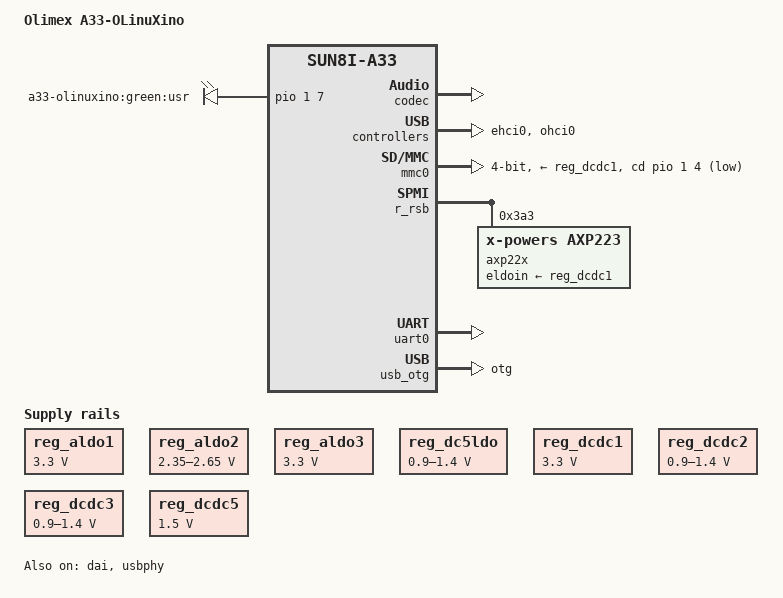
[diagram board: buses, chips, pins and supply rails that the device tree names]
/*
 * Copyright 2016 - Stefan Mavrodiev <stefan.mavrodiev@gmail.com>
 *                  Olimex LTD. <support@olimex.com>
 *
 * This file is dual-licensed: you can use it either under the terms
 * of the GPL or the X11 license, at your option. Note that this dual
 * licensing only applies to this file, and not this project as a
 * whole.
 *
 *  a) This file is free software; you can redistribute it and/or
 *     modify it under the terms of the GNU General Public License as
 *     published by the Free Software Foundation; either version 2 of the
 *     License, or (at your option) any later version.
 *
 *     This file is distributed in the hope that it will be useful,
 *     but WITHOUT ANY WARRANTY; without even the implied warranty of
 *     MERCHANTABILITY or FITNESS FOR A PARTICULAR PURPOSE.  See the
 *     GNU General Public License for more details.
 *
 * Or, alternatively,
 *
 *  b) Permission is hereby granted, free of charge, to any person
 *     obtaining a copy of this software and associated documentation
 *     files (the "Software"), to deal in the Software without
 *     restriction, including without limitation the rights to use,
 *     copy, modify, merge, publish, distribute, sublicense, and/or
 *     sell copies of the Software, and to permit persons to whom the
 *     Software is furnished to do so, subject to the following
 *     conditions:
 *
 *     The above copyright notice and this permission notice shall be
 *     included in all copies or substantial portions of the Software.
 *
 *     THE SOFTWARE IS PROVIDED "AS IS", WITHOUT WARRANTY OF ANY KIND,
 *     EXPRESS OR IMPLIED, INCLUDING BUT NOT LIMITED TO THE WARRANTIES
 *     OF MERCHANTABILITY, FITNESS FOR A PARTICULAR PURPOSE AND
 *     NONINFRINGEMENT. IN NO EVENT SHALL THE AUTHORS OR COPYRIGHT
 *     HOLDERS BE LIABLE FOR ANY CLAIM, DAMAGES OR OTHER LIABILITY,
 *     WHETHER IN AN ACTION OF CONTRACT, TORT OR OTHERWISE, ARISING
 *     FROM, OUT OF OR IN CONNECTION WITH THE SOFTWARE OR THE USE OR
 *     OTHER DEALINGS IN THE SOFTWARE.
 */

/dts-v1/;
#include "sun8i-a33.dtsi"

#include <dt-bindings/gpio/gpio.h>
#include <dt-bindings/input/input.h>

/ {
	model = "Olimex A33-OLinuXino";
	compatible = "olimex,a33-olinuxino","allwinner,sun8i-a33";

	aliases {
		serial0 = &uart0;
	};

	chosen {
		stdout-path = "serial0:115200n8";
	};

	leds {
		compatible = "gpio-leds";

		led {
			label = "a33-olinuxino:green:usr";
			gpios = <&pio 1 7 GPIO_ACTIVE_HIGH>;
		};
	};
};

&codec {
	status = "okay";
};

&dai {
	status = "okay";
};

&ehci0 {
	status = "okay";
};

&mmc0 {
	vmmc-supply = <&reg_dcdc1>;
	bus-width = <4>;
	cd-gpios = <&pio 1 4 GPIO_ACTIVE_LOW>; /* PB4 */
	status = "okay";
};

&ohci0 {
	status = "okay";
};

&r_rsb {
	status = "okay";

	axp22x: pmic@3a3 {
		compatible = "x-powers,axp223";
		reg = <0x3a3>;
		interrupt-parent = <&r_intc>;
		interrupts = <GIC_SPI 32 IRQ_TYPE_LEVEL_LOW>;
		eldoin-supply = <&reg_dcdc1>;
		x-powers,drive-vbus-en;
	};
};

#include "axp223.dtsi"

&ac_power_supply {
	status = "okay";
};

&battery_power_supply {
	status = "okay";
};

&reg_aldo1 {
	regulator-always-on;
	regulator-min-microvolt = <3300000>;
	regulator-max-microvolt = <3300000>;
	regulator-name = "vcc-io";
};

&reg_aldo2 {
	regulator-always-on;
	regulator-min-microvolt = <2350000>;
	regulator-max-microvolt = <2650000>;
	regulator-name = "vdd-dll";
};

&reg_aldo3 {
	regulator-always-on;
	regulator-min-microvolt = <3300000>;
	regulator-max-microvolt = <3300000>;
	regulator-name = "vcc-avcc";
};

&reg_dc1sw {
	regulator-name = "vcc-lcd";
};

&reg_dc5ldo {
	regulator-always-on;
	regulator-min-microvolt = <900000>;
	regulator-max-microvolt = <1400000>;
	regulator-name = "vdd-cpus";
};

&reg_dcdc1 {
	regulator-always-on;
	regulator-min-microvolt = <3300000>;
	regulator-max-microvolt = <3300000>;
	regulator-name = "vcc-3v3";
};

&reg_dcdc2 {
	regulator-always-on;
	regulator-min-microvolt = <900000>;
	regulator-max-microvolt = <1400000>;
	regulator-name = "vdd-sys";
};

&reg_dcdc3 {
	regulator-always-on;
	regulator-min-microvolt = <900000>;
	regulator-max-microvolt = <1400000>;
	regulator-name = "vdd-cpu";
};

&reg_dcdc5 {
	regulator-always-on;
	regulator-min-microvolt = <1500000>;
	regulator-max-microvolt = <1500000>;
	regulator-name = "vcc-dram";
};

&reg_drivevbus {
	regulator-name = "usb0-vbus";
	status = "okay";
};

&reg_rtc_ldo {
	regulator-name = "vcc-rtc";
};

&simplefb_lcd {
	vcc-lcd-supply = <&reg_dc1sw>;
};

&sound {
	/* Board level jack widgets */
	simple-audio-card,widgets = "Microphone", "Microphone Jack",
				    "Headphone", "Headphone Jack";
	/* Board level routing. First 2 routes copied from SoC level */
	simple-audio-card,routing =
		"Left DAC", "DACL",
		"Right DAC", "DACR",
		"HP", "HPCOM",
		"Headphone Jack", "HP",
		"MIC1", "Microphone Jack",
		"Microphone Jack", "MBIAS";
	status = "okay";
};

&uart0 {
	pinctrl-names = "default";
	pinctrl-0 = <&uart0_pb_pins>;
	status = "okay";
};

&usb_otg {
	dr_mode = "otg";
	status = "okay";
};

&usb_power_supply {
	status = "okay";
};

&usbphy {
	usb0_id_det-gpios = <&pio 1 3 GPIO_ACTIVE_HIGH>; /* PB3 */
	usb0_vbus_power-supply = <&usb_power_supply>;
	usb0_vbus-supply = <&reg_drivevbus>;
	status = "okay";
};
